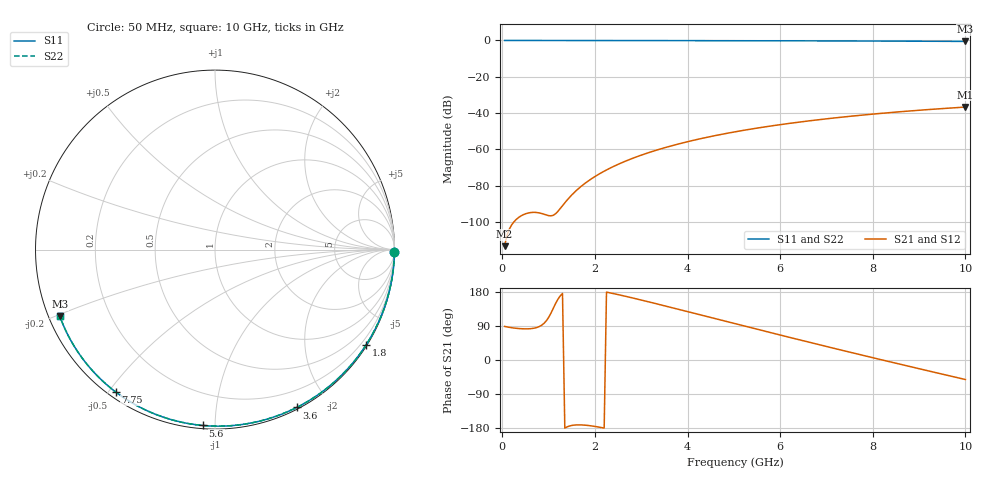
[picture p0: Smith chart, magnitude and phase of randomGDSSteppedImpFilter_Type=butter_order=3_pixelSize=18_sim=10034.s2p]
! freq	dB(S11)	phase(S11)	dB(S12)	phase(S12)
!  dB(S21)	phase(S21)	dB(S22)	phase(S22)
!S-par simulation data
#  GHz  S  DB  R 50
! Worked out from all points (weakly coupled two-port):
!   200 points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, 50 MHz to 10 GHz, reference 50 ohm
!   highest |S21| = -36.74 dB at 10 GHz (marker M1); lowest = -113.4 dB at 50 MHz (marker M2)
!   lowest |S11| = -0.5 dB at 10 GHz (marker M3), VSWR 32.94, Z = 1.58 - j10.3 ohm
!   |S11| at or under -10 dB: nowhere
!   |S22| runs from -0.5 to 0.0 dB; largest |S21 - S12| = 0
!   S11 on the Smith chart (normalised r, x): 50 MHz: open; 1.8 GHz: 0.03, -3.47; 3.6 GHz: 0.02, -1.64; 5.6 GHz: 0.02, -0.93; 7.75 GHz: 0.02, -0.52; 10 GHz: 0.03, -0.21
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0.05  -0.00 -0.9  -113.42 88.6  -113.42 88.6  -0.00 -0.9
0.45  -0.01 -8.2  -96.11 82.3  -96.11 82.3  -0.01 -8.2
0.9  -0.02 -16.3  -95.80 96.7  -95.80 96.7  -0.02 -16.3
1.7  -0.04 -30.4  -80.49 -171.2  -80.49 -171.2  -0.04 -30.4
1.75  -0.04 -31.3  -79.48 -171.6  -79.48 -171.6  -0.04 -31.3
1.8  -0.04 -32.2  -78.50 -172.1  -78.50 -172.1  -0.04 -32.2
1.95  -0.04 -34.8  -75.85 -174.3  -75.85 -174.3  -0.04 -34.8
2.1  -0.05 -37.4  -73.50 -177.3  -73.50 -177.3  -0.05 -37.4
2.3  -0.05 -40.8  -70.74 177.9  -70.74 177.9  -0.05 -40.8
2.5  -0.06 -44.3  -68.31 172.6  -68.31 172.6  -0.06 -44.3
2.9  -0.07 -51.0  -64.16 161.2  -64.16 161.2  -0.07 -51.0
3.4  -0.08 -59.3  -59.93 146.2  -59.93 146.2  -0.08 -59.3
3.6  -0.08 -62.6  -58.46 140.1  -58.46 140.1  -0.08 -62.6
4.3  -0.11 -73.9  -54.05 118.4  -54.05 118.4  -0.11 -73.9
5.05  -0.13 -85.5  -50.26 95.1  -50.26 95.1  -0.13 -85.5
5.6  -0.16 -93.9  -47.93 78.1  -47.93 78.1  -0.16 -93.9
6.15  -0.18 -102.0  -45.89 61.3  -45.89 61.3  -0.18 -102.0
6.7  -0.22 -110.0  -44.10 44.7  -44.10 44.7  -0.22 -110.0
7.75  -0.29 -125.0  -41.21 13.4  -41.21 13.4  -0.29 -125.0
8.35  -0.34 -133.4  -39.81 -4.2  -39.81 -4.2  -0.34 -133.4
9.2  -0.43 -145.4  -38.10 -28.7  -38.10 -28.7  -0.43 -145.4
10  -0.53 -156.7  -36.74 -51.5  -36.74 -51.5  -0.53 -156.7
